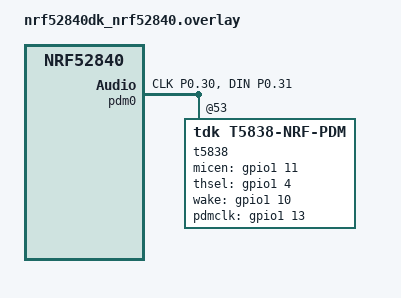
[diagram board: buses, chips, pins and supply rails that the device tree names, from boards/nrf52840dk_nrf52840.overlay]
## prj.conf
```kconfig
CONFIG_AUDIO=y
CONFIG_AUDIO_DMIC=y
CONFIG_AUDIO_DMIC_NRFX_PDM=n

CONFIG_LOG=y
```

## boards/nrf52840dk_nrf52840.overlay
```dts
/*
 * Copyright (c) 2021 Nordic Semiconductor ASA
 *
 * SPDX-License-Identifier: Apache-2.0
 */

&pinctrl {
	pdm0_default_alt: pdm0_default_alt {
		group1 {
			psels = <NRF_PSEL(PDM_CLK, 0, 30)>,
				<NRF_PSEL(PDM_DIN, 0, 31)>;
		};
	};
};

dmic_dev: &pdm0 {
	status = "okay";
	pinctrl-0 = <&pdm0_default_alt>;
	pinctrl-names = "default";
	clock-source = "PCLK32M_HFXO";
	#address-cells = < 0x1 >;
	#size-cells = < 0x0 >;
	t5838: t5838@53 {
		status = "okay";
		compatible = "tdk,t5838-nrf-pdm";
		micen-gpios = <&gpio1 11 GPIO_ACTIVE_HIGH>;
		thsel-gpios = <&gpio1 4 GPIO_ACTIVE_HIGH>;
		wake-gpios = <&gpio1 10 GPIO_ACTIVE_HIGH>;
		pdmclk-gpios = <&gpio1 13 GPIO_ACTIVE_HIGH>;
		reg = <0x53>;
	};
};
```

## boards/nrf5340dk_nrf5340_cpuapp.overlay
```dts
/*
 * Copyright (c) 2021 Nordic Semiconductor ASA
 *
 * SPDX-License-Identifier: Apache-2.0
 */

&clock {
	hfclkaudio-frequency = <12288000>;
};

&pinctrl {
	pdm0_default_alt: pdm0_default_alt {
		group1 {
			psels = <NRF_PSEL(PDM_CLK, 1, 13)>,
				<NRF_PSEL(PDM_DIN, 1, 12)>;
		};
	};
};

dmic_dev: &pdm0 {
	status = "okay";
	pinctrl-0 = <&pdm0_default_alt>;
	pinctrl-names = "default";
	clock-source = "PCLK32M_HFXO";
	#address-cells = < 0x1 >;
	#size-cells = < 0x0 >;
	t5838: t5838@0 {
		status = "okay";
		compatible = "invensense,t5838-nrf-pdm";
		thsel-gpios = <&gpio1 14 GPIO_ACTIVE_HIGH>;
		wake-gpios = <&gpio1 15 GPIO_ACTIVE_HIGH>;
		pdmclk-gpios = <&gpio1 13 GPIO_ACTIVE_HIGH>;
		reg = <0x0>;
	};
};
```

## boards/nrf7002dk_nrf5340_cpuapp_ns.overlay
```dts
/*
 * Copyright (c) 2021 Nordic Semiconductor ASA
 *
 * SPDX-License-Identifier: Apache-2.0
 */

&pinctrl {
	pdm0_default_alt: pdm0_default_alt {
		group1 {
			psels = <NRF_PSEL(PDM_CLK, 1, 13)>,
				<NRF_PSEL(PDM_DIN, 1, 12)>;
		};
	};
};

dmic_dev: &pdm0 {
	status = "okay";
	pinctrl-0 = <&pdm0_default_alt>;
	pinctrl-names = "default";
	clock-source = "PCLK32M_HFXO";
	#address-cells = < 0x1 >;
	#size-cells = < 0x0 >;
	t5838: t5838@53 {
		status = "okay";
		compatible = "invensense,t5838-nrf-pdm";
		thsel-gpios = <&gpio1 14 GPIO_ACTIVE_HIGH>;
		wake-gpios = <&gpio1 15 GPIO_ACTIVE_HIGH>;
		pdmclk-gpios = <&gpio1 13 GPIO_ACTIVE_HIGH>;
		reg = <0x53>;
	};
};
```

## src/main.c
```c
/*
 * Copyright (c) 2021 Nordic Semiconductor ASA
 *
 * SPDX-License-Identifier: Apache-2.0
 */

#include <zephyr/audio/dmic.h>
#include <zephyr/kernel.h>

#include <zephyr/logging/log.h>
LOG_MODULE_REGISTER(dmic_sample);

#define MAX_SAMPLE_RATE	 16000
#define SAMPLE_BIT_WIDTH 16
#define BYTES_PER_SAMPLE sizeof(int16_t)
/* Milliseconds to wait for a block to be read. */
#define READ_TIMEOUT	 1000

/* Size of a block for 100 ms of audio data. */
#define BLOCK_SIZE(_sample_rate, _number_of_channels)                                              \
	(BYTES_PER_SAMPLE * (_sample_rate / 10) * _number_of_channels)

/* Driver will allocate blocks from this slab to receive audio data into them.
 * Application, after getting a given block from the driver and processing its
 * data, needs to free that block.
 */
#define MAX_BLOCK_SIZE BLOCK_SIZE(MAX_SAMPLE_RATE, 2)
#define BLOCK_COUNT    4
K_MEM_SLAB_DEFINE_STATIC(mem_slab, MAX_BLOCK_SIZE, BLOCK_COUNT, 4);

static int do_pdm_transfer(const struct device *dmic_dev, struct dmic_cfg *cfg, size_t block_count)
{
	int ret;

	LOG_INF("PCM output rate: %u, channels: %u", cfg->streams[0].pcm_rate,
		cfg->channel.req_num_chan);

	ret = dmic_configure(dmic_dev, cfg);
	if (ret < 0) {
		LOG_ERR("Failed to configure the driver: %d", ret);
		return ret;
	}

	ret = dmic_trigger(dmic_dev, DMIC_TRIGGER_START);
	if (ret < 0) {
		LOG_ERR("START trigger failed: %d", ret);
		return ret;
	}

	for (int i = 0; i < block_count; ++i) {
		void *buffer;
		uint32_t size;
		int ret;

		ret = dmic_read(dmic_dev, 0, &buffer, &size, READ_TIMEOUT);
		if (ret < 0) {
			LOG_ERR("%d - read failed: %d", i, ret);
			return ret;
		}

		LOG_INF("%d - got buffer %p of %u bytes", i, buffer, size);

		k_mem_slab_free(&mem_slab, &buffer);
	}

	ret = dmic_trigger(dmic_dev, DMIC_TRIGGER_STOP);
	if (ret < 0) {
		LOG_ERR("STOP trigger failed: %d", ret);
		return ret;
	}

	return ret;
}

int main(void)
{
	const struct device *const dmic_dev = DEVICE_DT_GET(DT_NODELABEL(pdm0));
	int ret;

	LOG_INF("DMIC sample");

	if (!device_is_ready(dmic_dev)) {
		LOG_ERR("%s is not ready", dmic_dev->name);
		return 0;
	}

	struct pcm_stream_cfg stream = {
		.pcm_width = SAMPLE_BIT_WIDTH,
		.mem_slab = &mem_slab,
	};
	struct dmic_cfg cfg = {
		.io =
			{
				/* These fields can be used to limit the PDM clock
				 * configurations that the driver is allowed to use
				 * to those supported by the microphone.
				 */
				.min_pdm_clk_freq = 1000000,
				.max_pdm_clk_freq = 3500000,
				.min_pdm_clk_dc = 40,
				.max_pdm_clk_dc = 60,
			},
		.streams = &stream,
		.channel =
			{
				.req_num_streams = 1,
			},
	};

	cfg.channel.req_num_chan = 1;
	cfg.channel.req_chan_map_lo = dmic_build_channel_map(0, 0, PDM_CHAN_LEFT);
	cfg.streams[0].pcm_rate = MAX_SAMPLE_RATE;
	cfg.streams[0].block_size = BLOCK_SIZE(cfg.streams[0].pcm_rate, cfg.channel.req_num_chan);

	ret = do_pdm_transfer(dmic_dev, &cfg, 2 * BLOCK_COUNT);
	if (ret < 0) {
		return 0;
	}

	cfg.channel.req_num_chan = 2;
	cfg.channel.req_chan_map_lo = dmic_build_channel_map(0, 0, PDM_CHAN_LEFT) |
				      dmic_build_channel_map(1, 0, PDM_CHAN_RIGHT);
	cfg.streams[0].pcm_rate = MAX_SAMPLE_RATE;
	cfg.streams[0].block_size = BLOCK_SIZE(cfg.streams[0].pcm_rate, cfg.channel.req_num_chan);

	ret = do_pdm_transfer(dmic_dev, &cfg, 2 * BLOCK_COUNT);
	if (ret < 0) {
		return 0;
	}

	LOG_INF("Exiting");
	return 0;
}
```
